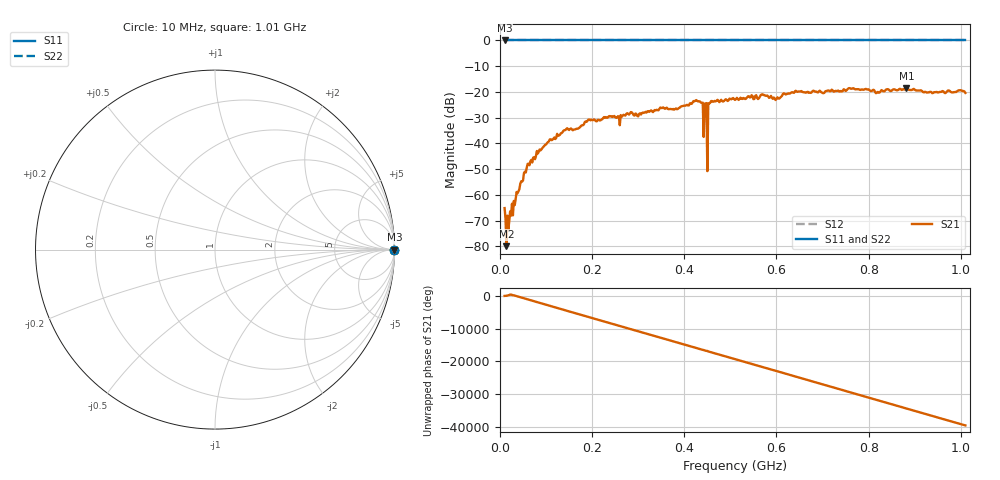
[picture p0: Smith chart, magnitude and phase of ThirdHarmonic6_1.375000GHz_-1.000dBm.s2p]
! 8/16/2025 3:36:01 PM
! C:\ANRITSUVNA\TEMP\TEMP.S2P
! CHANNEL.1
! TR.MEASUREMENT
! RAW.DATA
! RF.CORRECTION.OFF
! AVERAGING.OFF
! IF.BANDWIDTH: 5KHZ
! SWEEPTYPE:  FREQ.SWEEP(Linear)
! Reference Plane Port Info
! PORT:  PORT1  PORT2
! DISTANCE:  0  m  0  m
! TIME:  0  s  0  s
! PHASE.OFFSET:  0  deg.  0  deg.
! LOSS:  0  dB  0  dB
! REF.LOSS:  0  dB  0  dB
! REF.FREQ:  0  Hz  0  Hz
! Power Info
! POWER:  -20  dBm  -20  dBm
! EFF.POWER:  -20  dBm  -20  dBm
! SOURCE.ATTEN:  0  dB  0  dB
! TEST.ATTEN:  0  dB  0  dB
# GHZ S RI R 50.0
! FREQ.GHZ  S11RE  S11IM  S21RE  S21IM  S12RE  S12IM  S22RE  S22IM
!; PortSelection: Port_12
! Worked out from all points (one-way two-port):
!   501 points, 10 MHz to 1.01 GHz, reference 50 ohm
!   highest |S21| = -18.46 dB at 882 MHz (marker M1); lowest = -80.0 dB at 14 MHz (marker M2)
!   lowest |S11| = 0.0 dB at 10 MHz (marker M3)
!   |S11| at or under -10 dB: nowhere
!   |S22| runs from 0.0 to 0.0 dB; largest |S21 - S12| = 1.1
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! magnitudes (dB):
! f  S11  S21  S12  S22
! 10 MHz  0.0  -65.2  0.0  0.0
! 14 MHz  0.0  -80.0  0.0  0.0
! 18 MHz  0.0  -73.8  0.0  0.0
! 40 MHz  0.0  -58.7  0.0  0.0
! 64 MHz  0.0  -48.5  0.0  0.0
! 106 MHz  0.0  -39.3  0.0  0.0
! 178 MHz  0.0  -33.0  0.0  0.0
! 194 MHz  0.0  -30.8  0.0  0.0
! 344 MHz  0.0  -27.1  0.0  0.0
! 430 MHz  0.0  -23.7  0.0  0.0
! 444 MHz  0.0  -24.5  0.0  0.0
! 446 MHz  0.0  -24.7  0.0  0.0
! 448 MHz  0.0  -24.4  0.0  0.0
! 454 MHz  0.0  -24.5  0.0  0.0
! 456 MHz  0.0  -24.3  0.0  0.0
! 510 MHz  0.0  -23.1  0.0  0.0
! 570 MHz  0.0  -20.9  0.0  0.0
! 602 MHz  0.0  -22.1  0.0  0.0
! 678 MHz  0.0  -19.8  0.0  0.0
! 844 MHz  0.0  -19.2  0.0  0.0
! 882 MHz  0.0  -18.5  0.0  0.0
! 1.01 GHz  0.0  -20.4  0.0  0.0
